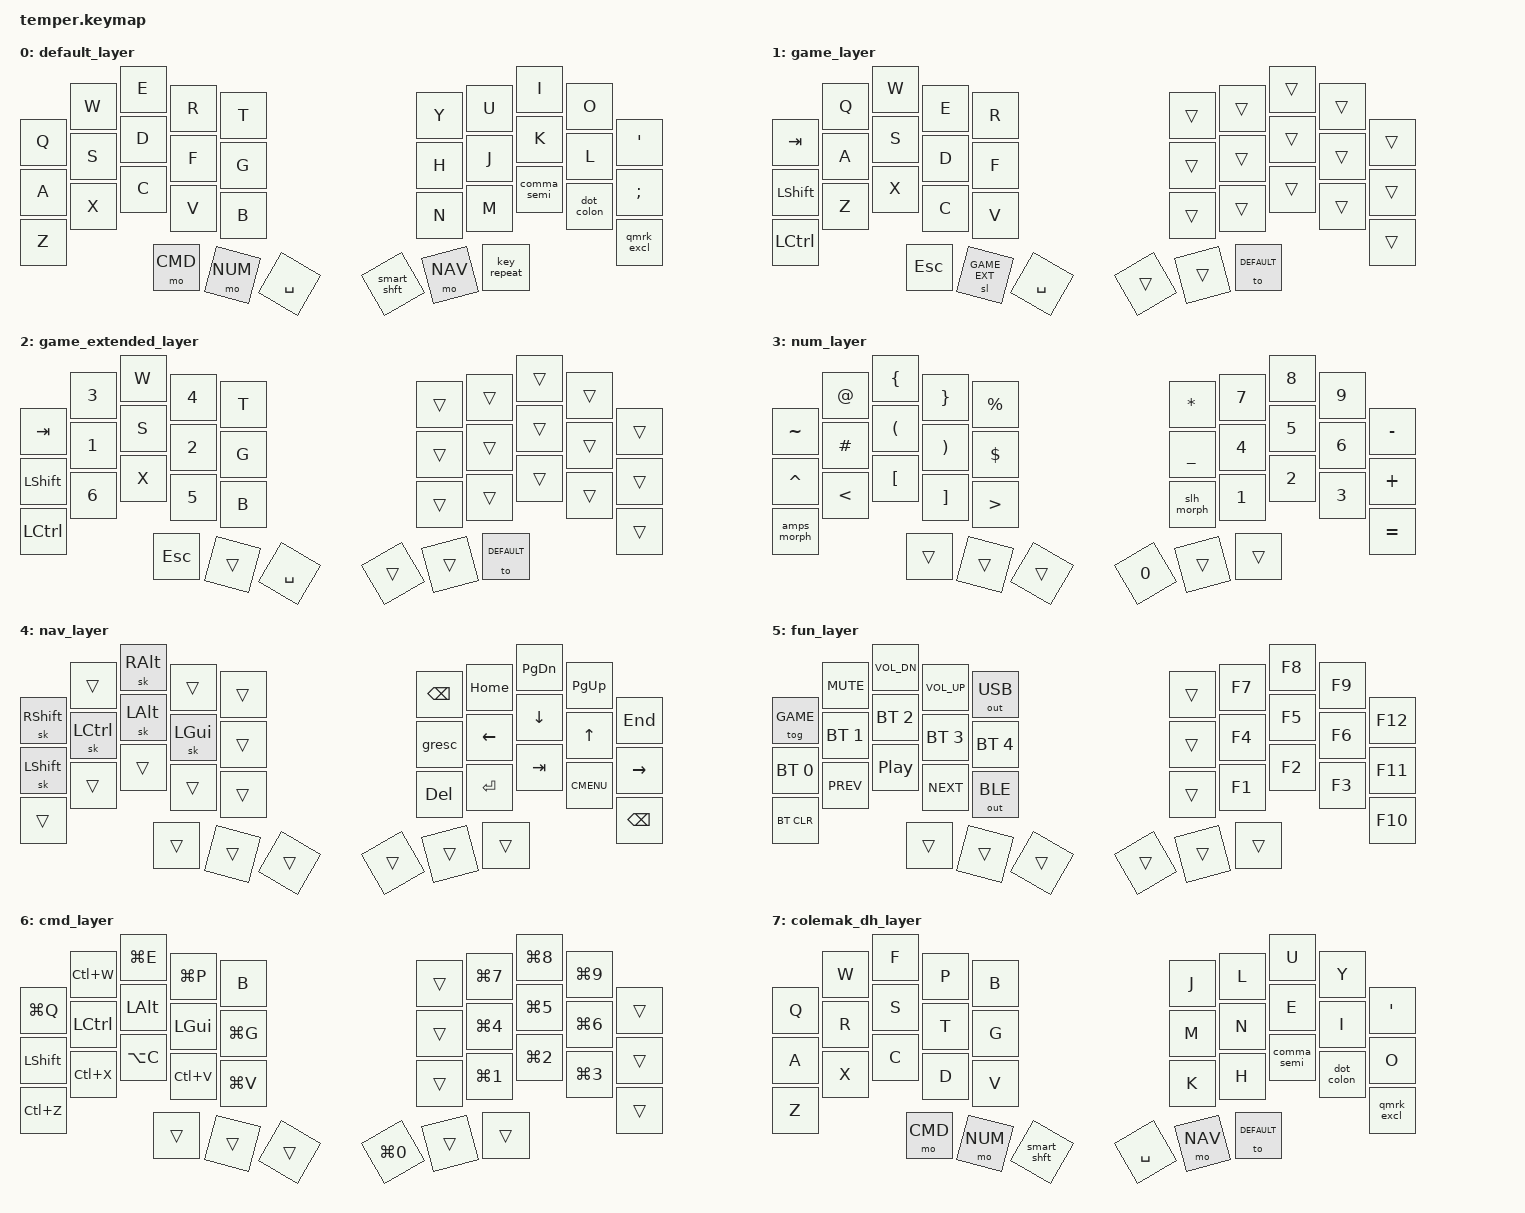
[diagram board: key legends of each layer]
/*
 * Copyright (c) 2020 The ZMK Contributors
 *
 * SPDX-License-Identifier: MIT
 */

#include <behaviors.dtsi>
#include <dt-bindings/zmk/keys.h>
#include <dt-bindings/zmk/bt.h>
#include <dt-bindings/zmk/outputs.h>

#define DEFAULT 0
#define GAME 1
#define GAME_EXT 2
#define NUM 3
#define NAV 4
#define FUN 5
#define CMD 6

# define ______ &trans

/ {
    conditional_layers {
        compatible = "zmk,conditional-layers";
        tri_layer {
            if-layers = <NUM NAV>;
            then-layer = <FUN>;
        };
    };
    behaviors {
        bspc_del: backspace_delete { // TODO Not in use
            compatible = "zmk,behavior-mod-morph";
            #binding-cells = <0>;
            bindings = <&kp BACKSPACE>, <&kp DELETE>;
            mods = <(MOD_LSFT|MOD_RSFT)>;
            keep-mods = <(MOD_RSFT)>;
        };
        super_bspc: super_backspace { // TODO Not in use
            compatible = "zmk,behavior-mod-morph";
            #binding-cells = <0>;
            bindings = <&kp BACKSPACE>, <&kp LA(BACKSPACE)>;
            mods = <(MOD_LSFT|MOD_RSFT)>;
        };
        smart_shft: smart_shift {
            compatible = "zmk,behavior-mod-morph";
            #binding-cells = <0>;
            bindings = <&kp LSHFT>, <&caps_word>;
            mods = <(MOD_LSFT)>;
        };
        comma_semi: comma_semi {
            compatible = "zmk,behavior-mod-morph";
            #binding-cells = <0>;
            bindings = <&kp COMMA>, <&kp P>; // because colemak_dh is used in system p = <&kp SEMI>;
            mods = <(MOD_LSFT)>;
        };
        dot_colon: dot_colon {
            compatible = "zmk,behavior-mod-morph";
            #binding-cells = <0>;
            bindings = <&kp DOT>, <&kp P>; // because colemak_dh is used in system shift+p = <&kp COLON>;
            mods = <(MOD_LSFT)>;
            keep-mods = <(MOD_LSFT)>;
        };
        qmrk_excl: qmrk_excl {
            compatible = "zmk,behavior-mod-morph";
            #binding-cells = <0>;
            bindings = <&kp QMARK>, <&kp EXCL>;
            mods = <(MOD_LSFT)>;
        };
        slh_morph: slh_morph {
            compatible = "zmk,behavior-mod-morph";
            #binding-cells = <0>;
            bindings = <&kp FSLH>, <&kp BSLH>;
            mods = <(MOD_LSFT)>;
        };
        amps_morph: amps_morph {
            compatible = "zmk,behavior-mod-morph";
            #binding-cells = <0>;
            bindings = <&kp AMPS>, <&kp PIPE>;
            mods = <(MOD_LSFT)>;
        };
    };
    // TODO Workspace, workspace manipulering, danske bogstaver, tal+modifiers, sticky layers?
        keymap {
                compatible = "zmk,keymap";

                default_layer {
                        bindings = <
// ╭─────────────┬─────────────┬─────────────┬─────────────┬─────────────╮   ╭─────────────┬─────────────┬─────────────┬─────────────┬─────────────╮
        &kp Q         &kp W         &kp E         &kp R         &kp T             &kp Y         &kp U         &kp I         &kp O       &kp APOS   
// ├─────────────┼─────────────┼─────────────┼─────────────┼─────────────┤   ├─────────────┼─────────────┼─────────────┼─────────────┼─────────────┤
        &kp A         &kp S         &kp D         &kp F         &kp G             &kp H         &kp J         &kp K         &kp L       &kp SEMI
// ├─────────────┼─────────────┼─────────────┼─────────────┼─────────────┤   ├─────────────┼─────────────┼─────────────┼─────────────┼─────────────┤
        &kp Z         &kp X         &kp C         &kp V         &kp B             &kp N         &kp M      &comma_semi    &dot_colon   &qmrk_excl
// ╰─────────────┴─────────────┼─────────────┼─────────────┼─────────────┤   ├─────────────┼─────────────┼─────────────┼─────────────┴─────────────╯
                                   &mo CMD       &mo NUM      &kp SPACE        &smart_shft     &mo NAV     &key_repeat
//                             ╰─────────────┴─────────────┴─────────────╯   ╰─────────────┴─────────────┴─────────────╯
                        >;
                };
                game_layer {
                        bindings = <
// ╭─────────────┬─────────────┬─────────────┬─────────────┬─────────────╮   ╭─────────────┬─────────────┬─────────────┬─────────────┬─────────────╮
        &kp TAB       &kp Q         &kp W         &kp E         &kp R             ______        ______        ______        ______        ______  
// ├─────────────┼─────────────┼─────────────┼─────────────┼─────────────┤   ├─────────────┼─────────────┼─────────────┼─────────────┼─────────────┤
       &kp LSHFT      &kp A         &kp S         &kp D         &kp F             ______        ______        ______        ______        ______
// ├─────────────┼─────────────┼─────────────┼─────────────┼─────────────┤   ├─────────────┼─────────────┼─────────────┼─────────────┼─────────────┤
       &kp LCTRL      &kp Z         &kp X         &kp C         &kp V             ______        ______        ______        ______        ______
// ╰─────────────┴─────────────┼─────────────┼─────────────┼─────────────┤   ├─────────────┼─────────────┼─────────────┼─────────────┴─────────────╯
                                    &kp ESC    &sl GAME_EXT   &kp SPACE           ______        ______     &to DEFAULT
//                             ╰─────────────┴─────────────┴─────────────╯   ╰─────────────┴─────────────┴─────────────╯
                        >;
                };
                game_extended_layer {
                        bindings = <
// ╭─────────────┬─────────────┬─────────────┬─────────────┬─────────────╮   ╭─────────────┬─────────────┬─────────────┬─────────────┬─────────────╮
        &kp TAB       &kp N3        &kp W         &kp N4        &kp T             ______        ______        ______        ______        ______  
// ├─────────────┼─────────────┼─────────────┼─────────────┼─────────────┤   ├─────────────┼─────────────┼─────────────┼─────────────┼─────────────┤
       &kp LSHFT      &kp N1        &kp S         &kp N2        &kp G             ______        ______        ______        ______        ______
// ├─────────────┼─────────────┼─────────────┼─────────────┼─────────────┤   ├─────────────┼─────────────┼─────────────┼─────────────┼─────────────┤
       &kp LCTRL      &kp N6        &kp X         &kp N5        &kp B             ______        ______        ______        ______        ______
// ╰─────────────┴─────────────┼─────────────┼─────────────┼─────────────┤   ├─────────────┼─────────────┼─────────────┼─────────────┴─────────────╯
                                    &kp ESC       ______      &kp SPACE           ______        ______     &to DEFAULT
//                             ╰─────────────┴─────────────┴─────────────╯   ╰─────────────┴─────────────┴─────────────╯
                        >;
                };
                num_layer {
                        bindings = <
// ╭─────────────┬─────────────┬─────────────┬─────────────┬─────────────╮   ╭─────────────┬─────────────┬─────────────┬─────────────┬─────────────╮
      &kp TILDE       &kp AT       &kp LBRC      &kp RBRC     &kp PRCNT          &kp STAR       &kp N7        &kp N8        &kp N9      &kp MINUS
// ├─────────────┼─────────────┼─────────────┼─────────────┼─────────────┤   ├─────────────┼─────────────┼─────────────┼─────────────┼─────────────┤
      &kp CARET      &kp HASH      &kp LPAR      &kp RPAR      &kp DLLR         &kp UNDER       &kp N4        &kp N5        &kp N6      &kp PLUS
// ├─────────────┼─────────────┼─────────────┼─────────────┼─────────────┤   ├─────────────┼─────────────┼─────────────┼─────────────┼─────────────┤
     &amps_morph      &kp LT       &kp LBKT      &kp RBKT       &kp GT          &slh_morph      &kp N1        &kp N2        &kp N3      &kp EQUAL
// ╰─────────────┴─────────────┼─────────────┼─────────────┼─────────────┤   ├─────────────┼─────────────┼─────────────┼─────────────┴─────────────╯
                                    ______        ______        ______            &kp N0        ______        ______
//                             ╰─────────────┴─────────────┴─────────────╯   ╰─────────────┴─────────────┴─────────────╯
                        >;
                };

                nav_layer {
                        bindings = <
// ╭─────────────┬─────────────┬─────────────┬─────────────┬─────────────╮   ╭─────────────┬─────────────┬─────────────┬─────────────┬─────────────╮
      &sk RSHFT       ______       &sk RALT        ______        ______          &kp BSPC      &kp HOME     &kp PG_DN     &kp PG_UP      &kp END
// ├─────────────┼─────────────┼─────────────┼─────────────┼─────────────┤   ├─────────────┼─────────────┼─────────────┼─────────────┼─────────────┤
      &sk LSHFT     &sk LCTRL      &sk LALT      &sk LGUI       ______           &gresc        &kp LEFT     &kp DOWN       &kp UP       &kp RIGHT
// ├─────────────┼─────────────┼─────────────┼─────────────┼─────────────┤   ├─────────────┼─────────────┼─────────────┼─────────────┼─────────────┤
        ______        ______        ______        ______        ______           &kp DEL       &kp RET        &kp TAB    &kp K_CMENU    &kp BSPC
// ╰─────────────┴─────────────┼─────────────┼─────────────┼─────────────┤   ├─────────────┼─────────────┼─────────────┼─────────────┴─────────────╯
                                    ______        ______        ______            ______        ______        ______
//                             ╰─────────────┴─────────────┴─────────────╯   ╰─────────────┴─────────────┴─────────────╯
                        >;
                };

                fun_layer {
                        bindings = <
// ╭─────────────┬─────────────┬─────────────┬─────────────┬─────────────╮   ╭─────────────┬─────────────┬─────────────┬─────────────┬─────────────╮
      &tog GAME    &kp K_MUTE    &kp C_VOL_DN  &kp C_VOL_UP  &out OUT_USB         ______        &kp F7        &kp F8        &kp F9       &kp F12
// ├─────────────┼─────────────┼─────────────┼─────────────┼─────────────┤   ├─────────────┼─────────────┼─────────────┼─────────────┼─────────────┤
     &bt BT_SEL 0  &bt BT_SEL 1  &bt BT_SEL 2  &bt BT_SEL 3  &bt BT_SEL 4         ______        &kp F4        &kp F5        &kp F6       &kp F11
// ├─────────────┼─────────────┼─────────────┼─────────────┼─────────────┤   ├─────────────┼─────────────┼─────────────┼─────────────┼─────────────┤
      &bt BT_CLR    &kp C_PREV     &kp C_PP     &kp C_NEXT   &out OUT_BLE         ______        &kp F1        &kp F2        &kp F3       &kp F10
// ╰─────────────┴─────────────┼─────────────┼─────────────┼─────────────┤   ├─────────────┼─────────────┼─────────────┼─────────────┴─────────────╯
                                    ______        ______        ______            ______        ______        ______
//                             ╰─────────────┴─────────────┴─────────────╯   ╰─────────────┴─────────────┴─────────────╯
                        >;
                };

                cmd_layer {
                        bindings = <
// ╭─────────────┬─────────────┬─────────────┬─────────────┬─────────────╮   ╭─────────────┬─────────────┬─────────────┬─────────────┬─────────────╮
       &kp LG(Q)    &kp LC(W)     &kp LG(E)     &kp LG(P)       &kp B             ______      &kp LG(N7)    &kp LG(N8)    &kp LG(N9)      ______  
// ├─────────────┼─────────────┼─────────────┼─────────────┼─────────────┤   ├─────────────┼─────────────┼─────────────┼─────────────┼─────────────┤
       &kp LSHFT    &kp LCTRL     &kp LALT      &kp LGUI      &kp LG(G)           ______      &kp LG(N4)    &kp LG(N5)    &kp LG(N6)      ______
// ├─────────────┼─────────────┼─────────────┼─────────────┼─────────────┤   ├─────────────┼─────────────┼─────────────┼─────────────┼─────────────┤
       &kp LC(Z)    &kp LC(X)     &kp LA(C)     &kp LC(V)     &kp LG(V)           ______      &kp LG(N1)    &kp LG(N2)    &kp LG(N3)      ______
// ╰─────────────┴─────────────┼─────────────┼─────────────┼─────────────┤   ├─────────────┼─────────────┼─────────────┼─────────────┴─────────────╯
                                    ______        ______        ______          &kp LG(N0)      ______        ______
//                             ╰─────────────┴─────────────┴─────────────╯   ╰─────────────┴─────────────┴─────────────╯
                        >;
                };

                colemak_dh_layer {
                        bindings = <
// ╭─────────────┬─────────────┬─────────────┬─────────────┬─────────────╮   ╭─────────────┬─────────────┬─────────────┬─────────────┬─────────────╮
        &kp Q         &kp W         &kp F         &kp P         &kp B             &kp J         &kp L         &kp U         &kp Y       &kp APOS   
// ├─────────────┼─────────────┼─────────────┼─────────────┼─────────────┤   ├─────────────┼─────────────┼─────────────┼─────────────┼─────────────┤
        &kp A         &kp R         &kp S         &kp T         &kp G             &kp M         &kp N         &kp E         &kp I         &kp O
// ├─────────────┼─────────────┼─────────────┼─────────────┼─────────────┤   ├─────────────┼─────────────┼─────────────┼─────────────┼─────────────┤
        &kp Z         &kp X         &kp C         &kp D         &kp V             &kp K         &kp H      &comma_semi    &dot_colon    &qmrk_excl
// ╰─────────────┴─────────────┼─────────────┼─────────────┼─────────────┤   ├─────────────┼─────────────┼─────────────┼─────────────┴─────────────╯
                                   &mo CMD       &mo NUM     &smart_shft        &kp SPACE      &mo NAV     &to DEFAULT
//                             ╰─────────────┴─────────────┴─────────────╯   ╰─────────────┴─────────────┴─────────────╯
                        >;
                };
        };
};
